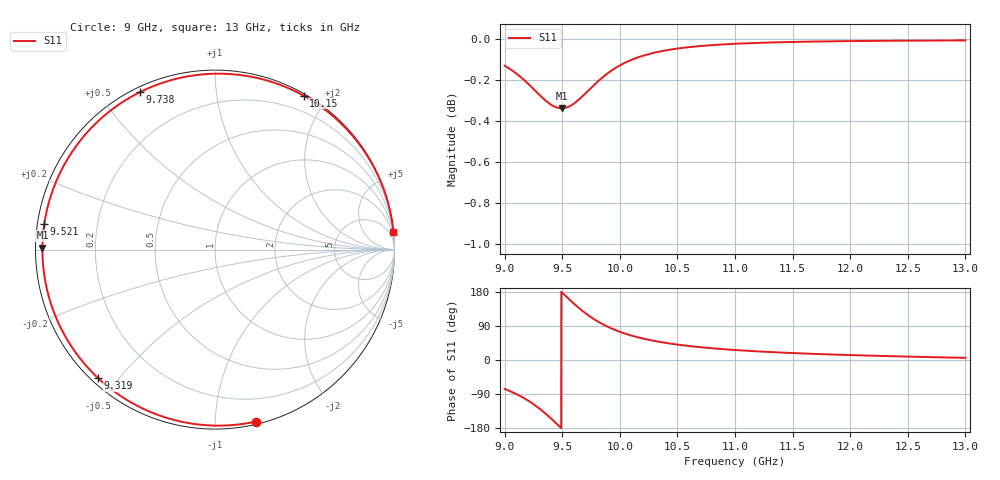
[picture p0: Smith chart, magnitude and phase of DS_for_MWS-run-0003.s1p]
! TOUCHSTONE file generated by CST DESIGN STUDIO
! Date and time: Tue Feb  4 17:44:59 2025
! Project name: C:\Work\MatlabApps\UnitCellOptimizationMatlab\CST\unitcell.cst
! Tree item: Tasks\Sweep1\SPara1\S-Parameters
! Header version: 2024
! Port assignment regex: !\s*Touchstone port\s*([0-9]+)\s*=\s*(CST MWS port|CST DES external port|CST DES block port)\s*(.+)\s* \(\"(.*)\"\)(\s*mode\s*([0-9]+))?.*
! Touchstone port assignment:
! Touchstone port 1 = CST DES external port 1 ("")
# GHz S MA R 50
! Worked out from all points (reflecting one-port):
!   4001 points, 9 GHz to 13 GHz, reference 50 ohm
!   lowest |S11| = -0.3 dB at 9.494 GHz (marker M1), VSWR 51.25, Z = 0.976 + j0.301 ohm
!   phase of S11 starts at -77 deg and turns -278 deg over the sweep
!   S11 on the Smith chart (normalised r, x): 9 GHz: 0.02, -1.27; 9.319 GHz: 0.02, -0.44; 9.521 GHz: 0.02, +0.08; 9.738 GHz: 0.02, +0.63; 10.15 GHz: 0.02, +1.73; 13 GHz: 0, +20
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9  0.9849 -76.5
9.082  0.9815 -87.0
9.183  0.9763 -103.3
9.254  0.972 -117.3
9.319  0.968 -132.3
9.365  0.9654 -144.1
9.414  0.9632 -157.5
9.455  0.9621 -169.3
9.494  0.9617 179.3
9.5  0.9617 177.6
9.521  0.9619 171.4
9.574  0.9632 156.2
9.634  0.9659 139.9
9.685  0.9688 127.2
9.738  0.9721 115.4
9.791  0.9753 104.8
9.85  0.9785 94.6
9.924  0.9821 83.7
10  0.9851 74.4
10.154  0.9895 60.1
10.311  0.9923 49.7
10.5  0.9944 40.7
10.722  0.996 33.1
11  0.9971 26.4
11.5  0.9981 18.3
12  0.9986 13.0
12.5  0.9988 9.0
13  0.9989 5.6
